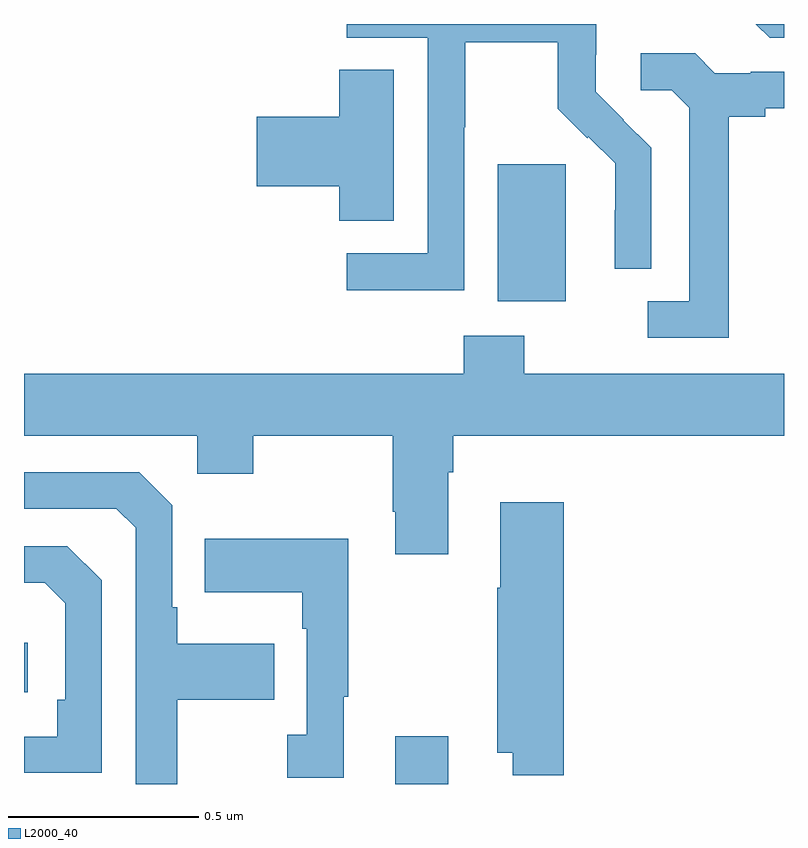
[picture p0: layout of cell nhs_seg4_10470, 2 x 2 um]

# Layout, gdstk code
import gdstk
lib = gdstk.Library(unit=1e-6, precision=1e-09)
def R(c, l, rs):  # rectangles x0, y0, x1, y1
    for r in rs: c.add(gdstk.rectangle(r[:2], r[2:], *l))
def P(c, l, *ps):  # polygons
    for p in ps: c.add(gdstk.Polygon(p, *l))
L2000_40 = (2000, 40)

nhs_seg4_10470 = lib.new_cell('nhs_seg4_10470')
R(nhs_seg4_10470, L2000_40, [(240.977,799.9,241.117,800.026), (240,800.142,240.01,800.272), (241.247,801.17,241.426,801.531)])
P(nhs_seg4_10470, L2000_40, [(241.158,801.628),(241.161,801.628),(241.161,801.852),(241.405,801.852),(241.405,801.677),(241.482,801.6),(241.485,801.603),(241.556,801.533),(241.556,801.41),(241.554,801.41),(241.554,801.256),(241.65,801.256),(241.65,801.574),(241.577,801.647),(241.578,801.648),(241.504,801.722),(241.504,801.819),(241.506,801.819),(241.506,801.9),(240.849,801.9),(240.849,801.864),(241.062,801.864),(241.062,801.297),(240.849,801.297),(240.849,801.199),(241.158,801.199)],
  [(242,801.9),(241.926,801.9),(241.962,801.864),(242,801.864)],
  [(241.855,801.656),(241.951,801.656),(241.951,801.678),(242,801.678),(242,801.774),(241.912,801.774),(241.912,801.771),(241.818,801.771),(241.766,801.823),(241.623,801.823),(241.623,801.726),(241.704,801.726),(241.751,801.679),(241.751,801.171),(241.641,801.171),(241.641,801.075),(241.855,801.075)],
  [(240.973,801.779),(240.83,801.779),(240.83,801.656),(240.612,801.656),(240.612,801.473),(240.83,801.473),(240.83,801.382),(240.973,801.382)],
  [(241.117,800.72),(241.13,800.72),(241.13,800.816),(242,800.816),(242,800.98),(241.317,800.98),(241.317,801.079),(241.157,801.079),(241.157,800.98),(240,800.98),(240,800.816),(240.456,800.816),(240.456,800.717),(240.603,800.717),(240.603,800.816),(240.97,800.816),(240.97,800.617),(240.977,800.617),(240.977,800.505),(241.117,800.505)],
  [(240.403,800.122),(240.659,800.122),(240.659,800.269),(240.403,800.269),(240.403,800.365),(240.39,800.365),(240.39,800.634),(240.303,800.721),(240,800.721),(240,800.625),(240.243,800.625),(240.294,800.574),(240.294,799.9),(240.403,799.9)],
  [(241.421,800.641),(241.253,800.641),(241.253,800.417),(241.246,800.417),(241.246,799.982),(241.286,799.982),(241.286,799.923),(241.421,799.923)],
  [(240.841,800.129),(240.853,800.129),(240.853,800.545),(240.475,800.545),(240.475,800.405),(240.732,800.405),(240.732,800.309),(240.744,800.309),(240.744,800.03),(240.693,800.03),(240.693,799.917),(240.841,799.917)],
  [(240.204,800.436),(240.114,800.526),(240,800.526),(240,800.429),(240.055,800.429),(240.108,800.376),(240.108,800.122),(240.088,800.122),(240.088,800.025),(240,800.025),(240,799.929),(240.204,799.929)])

lib.write_gds('nhs_seg4_10470.gds')
